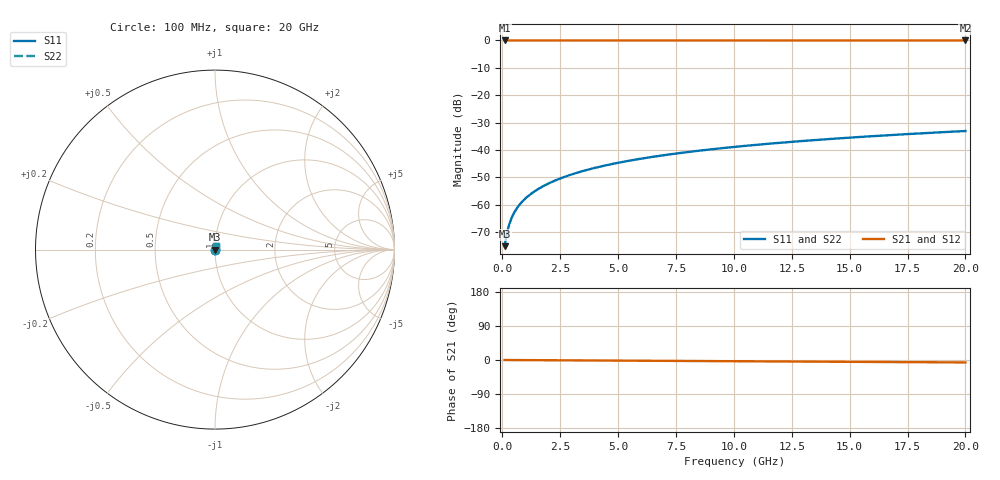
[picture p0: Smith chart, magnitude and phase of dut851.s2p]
! Touchstone file exported from HFSS 2026.1.0
!  File:  C:/ffzhzh/LocalFiles/Ansys_Project_Files/temp_train_TSV_851_1783185152_22436.aedt
!  Generated:  01:13:50 AM Jul  5, 2026
!  Design:  TSV
!  Project:  temp_train_TSV_851_1783185152_22436
! Variables:
!  h_bsmrdl = 2um
!  h_ox = 20um
!  h_rdl = 5um
!  h_sub = 58.16um
!  h_tmrdl = 5um
!  h_tsv = 58.16um
!  h_via = 3um
!  l_bsmrdl = 300um
!  l_sub = 419.7um
!  l_tmrdl = 200um
!  m_sub = 200um
!  pitch = 49.35um
!  r_tsv = 9.85um
!  s_tmrdl = 10um
!  w_bsmrdl = 18um
!  w_sub = 500um
!  w_tmrdl = 12um
!  x_tsv_center1 = 206um
!  x_tsv_center2 = 524um
!  x_tsv_center3 = 736um
!  x_tsv_center4 = 1054um
!  x_tsv_center5 = 1266um
!  x_tsv_center6 = 1584um
# GHz S MA R 50.000000
! Terminal data exported
! Port[1] = TSV1_1_T1
! Port[2] = TSV1_1_T2
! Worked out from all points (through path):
!   200 points, 100 MHz to 20 GHz, reference 50 ohm
!   highest |S21| = 0.00 dB at 100 MHz (marker M1); lowest = 0.0 dB at 20 GHz (marker M2)
!   lowest |S11| = -75.1 dB at 100 MHz (marker M3), VSWR 1.00, Z = 50 + j0.0143 ohm
!   |S11| at or under -10 dB: start of sweep to end of sweep
!   |S22| runs from -75.1 to -33.1 dB; largest |S21 - S12| = 3.9e-15
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0.1  0.000176 54.6  0.9999 -0.0  0.9999 -0.0  0.000176 54.6
! Gamma 0 0 0 0
! Port Impedance 50 0 50 0
0.2  0.0003056 68.7  0.9999 -0.1  0.9999 -0.1  0.0003056 68.7
0.3  0.0004406 73.6  0.9999 -0.1  0.9999 -0.1  0.0004406 73.6
0.4  0.0005739 75.8  0.9999 -0.1  0.9999 -0.1  0.0005739 75.8
0.5  0.0007037 76.9  0.9998 -0.2  0.9998 -0.2  0.0007037 76.9
0.6  0.0008301 77.7  0.9998 -0.2  0.9998 -0.2  0.0008301 77.7
0.7  0.0009533 78.2  0.9998 -0.2  0.9998 -0.2  0.0009533 78.2
0.8  0.001074 78.6  0.9998 -0.3  0.9998 -0.3  0.001074 78.6
1  0.00131 79.4  0.9998 -0.3  0.9998 -0.3  0.00131 79.4
1.4  0.001771 80.6  0.9997 -0.5  0.9997 -0.5  0.001771 80.6
1.7  0.002114 81.3  0.9997 -0.6  0.9997 -0.6  0.002114 81.3
2  0.002456 81.8  0.9997 -0.7  0.9997 -0.7  0.002456 81.8
2.7  0.003254 82.7  0.9996 -0.9  0.9996 -0.9  0.003254 82.7
3.5  0.004163 83.2  0.9996 -1.1  0.9996 -1.1  0.004163 83.2
4.2  0.004953 83.5  0.9995 -1.4  0.9995 -1.4  0.004954 83.5
5  0.005852 83.6  0.9995 -1.6  0.9995 -1.6  0.005852 83.6
6.8  0.007856 83.6  0.9994 -2.2  0.9994 -2.2  0.007856 83.6
8.3  0.009512 83.5  0.9993 -2.7  0.9993 -2.7  0.009512 83.5
10.1  0.01149 83.3  0.9992 -3.3  0.9992 -3.3  0.01149 83.2
13.4  0.0151 82.6  0.9991 -4.3  0.9991 -4.3  0.0151 82.6
16.7  0.01868 81.9  0.9989 -5.4  0.9989 -5.4  0.01868 81.9
20  0.02224 81.0  0.9988 -6.4  0.9988 -6.4  0.02224 81.0
